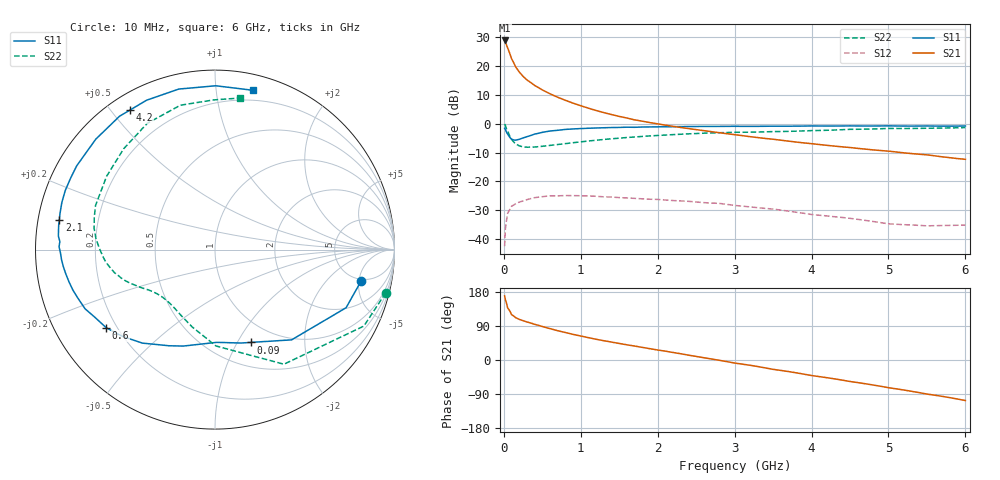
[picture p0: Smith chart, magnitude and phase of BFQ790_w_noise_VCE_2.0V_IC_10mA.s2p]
! (c) 2015  Infineon Technologies AG, Munich
! Infineon Technologies  Discrete & RF Semiconductors
! BFQ790
! VCE =  2.0 V,  IC =  10 mA
! Common Emitter S-Parameters:  May 2015
# GHz  S  MA  R  50
!  f  S11  S21  S12  S22
! GHz  MAG  ANG  MAG  ANG  MAG  ANG  MAG  ANG
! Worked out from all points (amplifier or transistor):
!   77 points, 10 MHz to 6 GHz, reference 50 ohm
!   highest |S21| = 28.9 dB at 10 MHz (marker M1)
!   |S21| within 3 dB of that: start of sweep to 55.56 MHz
!   unconditionally stable (mu >= 1): 2.429 GHz to end of sweep
!   at 130 MHz: K = 0.65, MSG = 24.6 dB, |S12| = -28.2 dB
!   at 2.2 GHz: K = 0.97, MSG = 12.9 dB, |S12| = -26.7 dB
!   at 6 GHz: K = 4.58, MAG = 1.8 dB, |S12| = -35.2 dB
!   lowest NFmin = 2.10 dB at 450 MHz
!   S11 on the Smith chart (normalised r, x): 10 MHz: 4.67, -5.36; 90 MHz: 0.76, -1.14; 600 MHz: 0.16, -0.31; 2.1 GHz: 0.06, +0.10; 4.2 GHz: 0.06, +0.56; 6 GHz: 0.12, +1.26
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0.01  0.8325 -12.2  27.78 169.4  0.0075 79.0  0.9811 -14.2
0.02  0.799 -23.9  26.58 159.1  0.0148 69.7  0.9324 -27.2
0.05  0.6595 -49.7  20.53 137.0  0.028 48.2  0.7451 -59.0
0.09  0.5549 -68.7  14.7 124.5  0.0349 33.6  0.5628 -81.8
0.1  0.5404 -74.4  13.42 119.7  0.0369 30.9  0.5366 -89.5
0.15  0.5168 -89.0  9.853 112.1  0.0405 24.8  0.4494 -106.4
0.2  0.5355 -99.7  7.885 107.3  0.0436 20.6  0.4125 -117.3
0.25  0.5658 -108.2  6.629 103.8  0.0457 17.7  0.3963 -124.7
0.3  0.5945 -115.7  5.746 100.4  0.0481 13.8  0.3908 -130.2
0.4  0.6595 -127.8  4.612 94.2  0.0521 9.0  0.3941 -137.6
0.5  0.7072 -136.9  3.851 88.3  0.0542 3.3  0.4052 -142.5
0.6  0.7462 -144.3  3.302 82.8  0.056 -0.9  0.4197 -146.2
0.8  0.7955 -155.5  2.546 72.5  0.0566 -10.3  0.4506 -151.2
0.9  0.81 -160.4  2.268 67.6  0.0565 -14.5  0.4676 -153.4
1.1  0.8333 -167.6  1.855 59.0  0.0558 -21.0  0.5002 -157.5
1.5  0.8612 -178.8  1.337 43.6  0.0522 -33.3  0.5601 -165.3
2.1  0.8834 169.1  0.944 23.3  0.0474 -48.5  0.6347 -178.6
3.1  0.8988 146.5  0.62 -10.9  0.0371 -72.4  0.7101 156.9
4.1  0.9114 123.4  0.435 -43.8  0.0258 -86.6  0.7623 129.3
4.2  0.9104 121.2  0.421 -46.7  0.0251 -87.0  0.7685 126.4
5.1  0.9123 100.1  0.323 -76.1  0.018 -90.4  0.8252 100.9
6  0.9126 76.5  0.241 -107.0  0.0174 -80.8  0.8557 80.7
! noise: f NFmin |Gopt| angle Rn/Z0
0.45  2.1  0.38  85  0.37
0.9  2.34  0.53  146  0.17
1.5  2.99  0.71  177  0.07
1.8  3.51  0.73  -176  0.09
2.6  4.97  0.8  -157  0.34
3.5  6.68  0.95  -139  1.34
